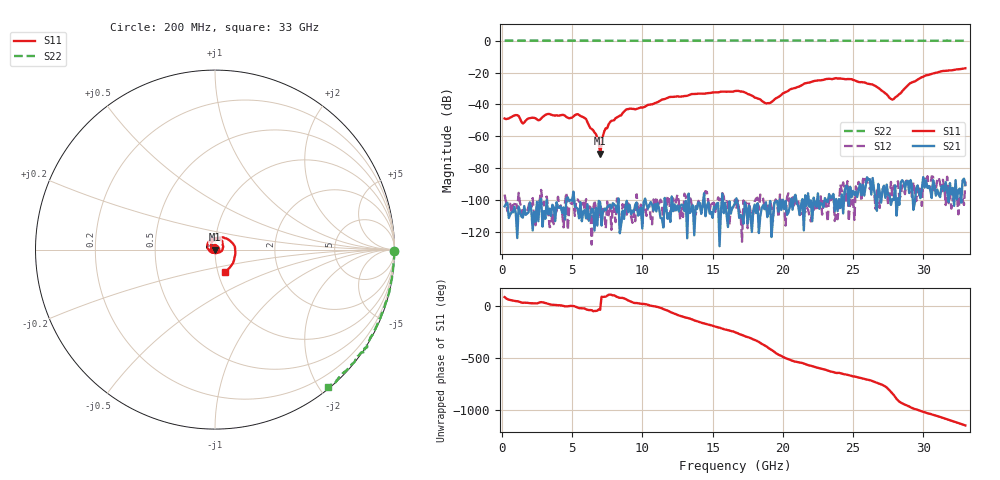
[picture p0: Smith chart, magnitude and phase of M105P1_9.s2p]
# GHZ S RI R 50
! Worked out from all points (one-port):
!   329 points, 200 MHz to 33 GHz, reference 50 ohm
!   lowest |S11| = -71.0 dB at 7 GHz (marker M1), VSWR 1.00, Z = 50 - j0.0181 ohm
!   |S11| at or under -10 dB: start of sweep to end of sweep
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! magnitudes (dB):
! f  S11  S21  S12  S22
! 200 MHz  -48.8  -103.9  -96.5  0.0
! 1.1 GHz  -46.7  -123.8  -105.2  0.0
! 1.5 GHz  -52.0  -111.0  -111.6  0.0
! 3.3 GHz  -46.0  -108.9  -106.0  0.0
! 5.7 GHz  -47.6  -113.2  -104.4  0.0
! 6.7 GHz  -58.6  -105.0  -105.5  0.0
! 6.9 GHz  -63.6  -100.5  -111.5  0.0
! 7 GHz  -71.0  -101.2  -102.6  0.0
! 7.3 GHz  -56.7  -105.3  -108.8  0.0
! 7.8 GHz  -50.3  -105.2  -118.7  0.0
! 8.9 GHz  -43.0  -100.5  -109.1  0.0
! 11.2 GHz  -38.0  -105.3  -102.0  0.0
! 16.6 GHz  -31.6  -101.9  -99.7  -0.1
! 19 GHz  -39.2  -107.6  -102.6  0.0
! 22.1 GHz  -25.6  -113.2  -106.2  0.0
! 24.9 GHz  -24.2  -98.2  -102.7  0.0
! 26.4 GHz  -27.6  -86.2  -92.3  0.0
! 27.6 GHz  -35.9  -97.1  -100.6  -0.1
! 27.9 GHz  -36.6  -100.0  -90.9  0.0
! 29 GHz  -27.2  -95.6  -88.3  -0.1
! 30.1 GHz  -22.1  -92.2  -86.5  -0.1
! 33 GHz  -17.3  -90.3  -88.3  -0.1
